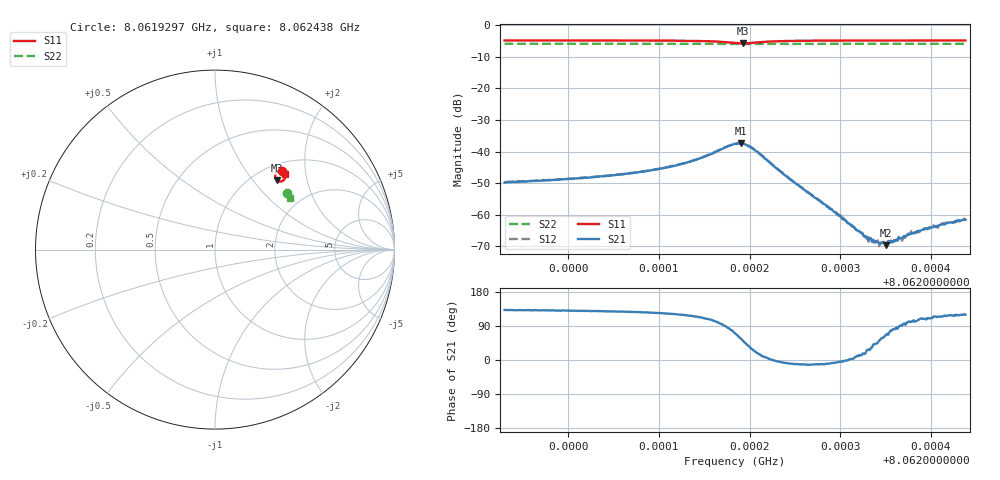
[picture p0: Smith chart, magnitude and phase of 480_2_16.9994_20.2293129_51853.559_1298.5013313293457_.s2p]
#  HZ  S  RI  R  50.00
! Rohde & Schwarz Vector Network Analyzer
! Rohde-Schwarz,ZNB20-2Port,1311601062101988,3.16
! Created: UTC 3/20/2024, 11:13:38 PM
! freq[Hz]  re:S11  im:S11  re:S21  im:S21  re:S12  im:S12  re:S22  im:S22
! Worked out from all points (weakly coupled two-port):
!   401 points, 8.0619297 GHz to 8.062438 GHz, reference 50 ohm
!   highest |S21| = -37.33 dB at 8.0621902 GHz (marker M1); lowest = -69.6 dB at 8.0623503 GHz (marker M2)
!   lowest |S11| = -5.7 dB at 8.0621928 GHz (marker M3), VSWR 3.14, Z = 63.1 + j66.7 ohm
!   |S11| at or under -10 dB: nowhere
!   |S22| runs from -5.9 to -5.8 dB; largest |S21 - S12| = 0.00092
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8.0619297e9  0.3724 0.4396  -0.00219 0.00241  -0.00206 0.00257  0.4013 0.3154
8.06201485e9  0.3789 0.4335  -0.00242 0.00292  -0.00231 0.00312  0.4045 0.3111
8.0620606e9  0.3827 0.4291  -0.00267 0.00347  -0.00248 0.00366  0.4062 0.3087
8.06209999e9  0.3866 0.4233  -0.00299 0.00439  -0.00272 0.00465  0.4077 0.3065
8.06213939e9  0.3908 0.4115  -0.0031 0.00665  -0.00276 0.00687  0.409 0.3041
8.06218387e9  0.3628 0.3794  0.00448 0.0125  0.00517 0.0123  0.4088 0.3009
8.06219022e9  0.3487 0.3831  0.00743 0.0114  0.00819 0.0109  0.4085 0.3009
8.06219276e9  0.3438 0.3868  0.00849 0.0102  0.00913 0.00988  0.4083 0.3011
8.06219912e9  0.336 0.3992  0.00967 0.00721  0.0104 0.00672  0.4083 0.3014
8.06220674e9  0.3357 0.4146  0.00957 0.00372  0.00988 0.00318  0.4089 0.3018
8.06223597e9  0.3577 0.435  0.00456 -0.000499  0.00459 -0.000785  0.411 0.3008
8.06226901e9  0.3711 0.4346  0.00194 -0.000421  0.00199 -0.000572  0.4128 0.2992
8.06229824e9  0.3774 0.4323  0.000971 -9.2e-05  0.000996 -0.000148  0.4139 0.2978
8.06232874e9  0.3817 0.4299  0.00042 0.000176  0.0004 0.000169  0.4153 0.2961
8.06234018e9  0.3831 0.4292  0.000273 0.000255  0.000299 0.000241  0.4156 0.2953
8.06235035e9  0.3843 0.4284  0.000137 0.0003  0.000163 0.000286  0.416 0.2947
8.06235416e9  0.3845 0.4282  0.000112 0.000366  0.000116 0.000323  0.4161 0.2946
8.06237068e9  0.386 0.4271  -5.27e-05 0.00046  -8.31e-07 0.000461  0.4168 0.2937
8.06237703e9  0.3867 0.4266  -8.71e-05 0.000494  -5.7e-05 0.000488  0.4168 0.2935
8.06238466e9  0.3873 0.4261  -0.000131 0.000538  -0.000101 0.000516  0.4172 0.293
8.06239355e9  0.3881 0.4255  -0.000192 0.000563  -0.000165 0.000584  0.4176 0.2924
8.06243803e9  0.3915 0.4229  -0.000411 0.000725  -0.00038 0.000808  0.4192 0.2902
